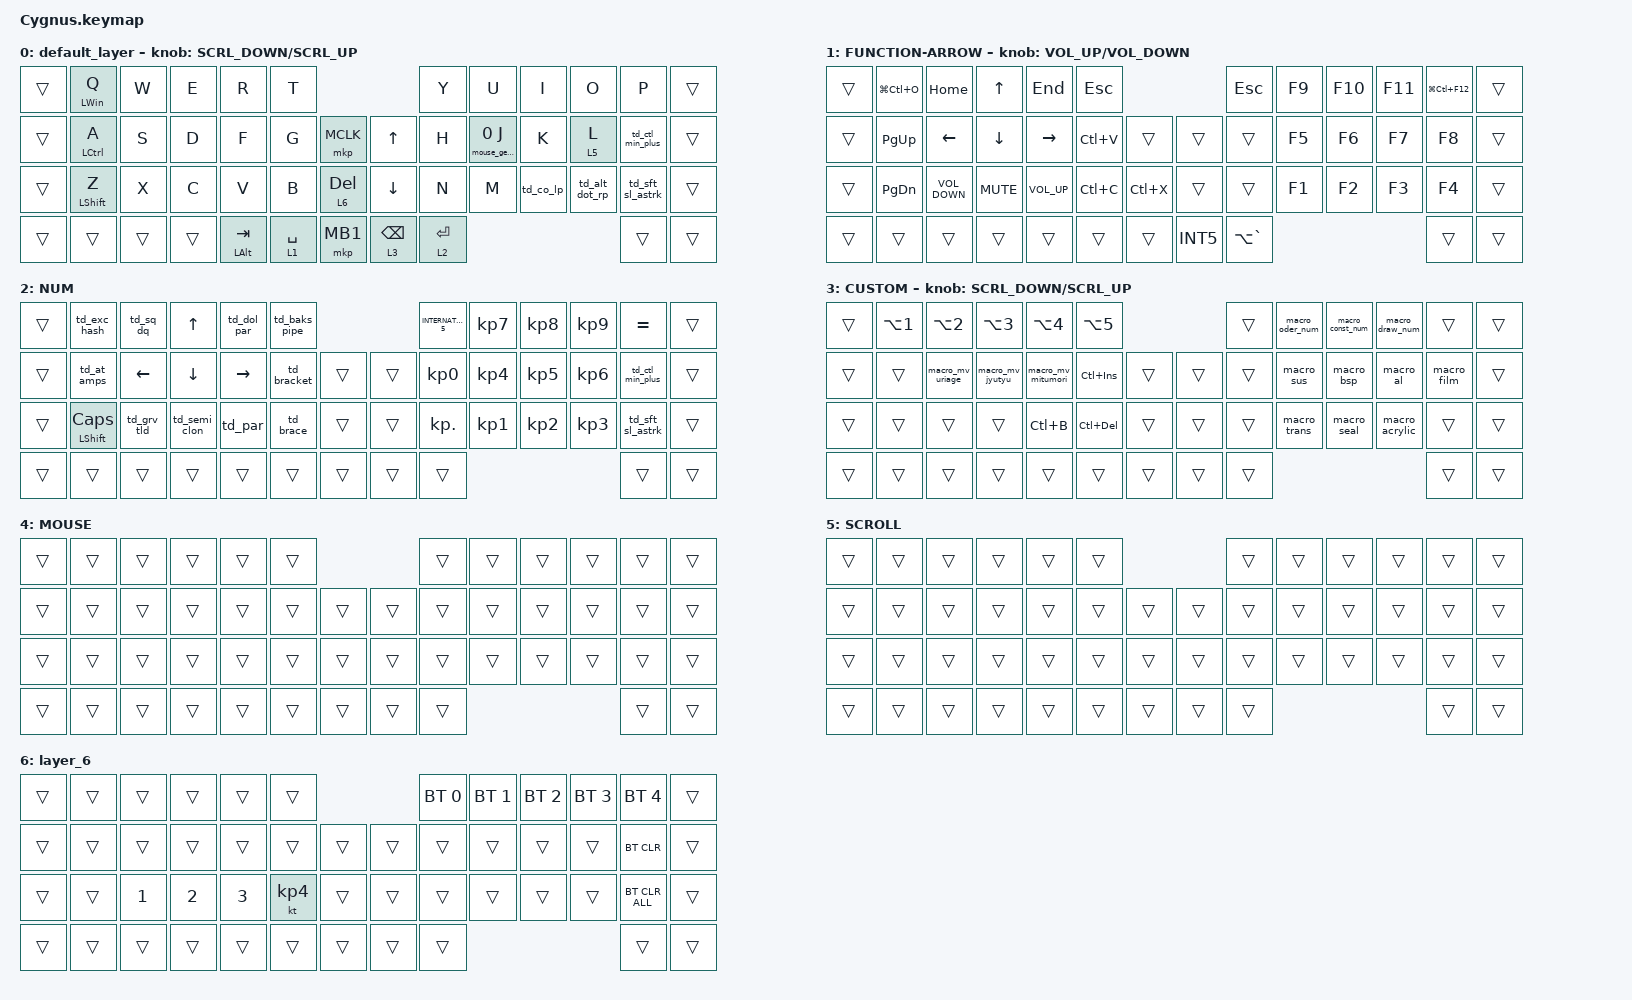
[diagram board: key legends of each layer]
#define ZMK_POINTING_DEFAULT_SCRL_VAL 120    // default: 10

#include <mouse-gesture.dtsi>
#include <behaviors.dtsi>
#include <dt-bindings/zmk/bt.h>
#include <dt-bindings/zmk/keys.h>
#include <dt-bindings/zmk/pointing.h>

#define MOUSE 4
#define SCROLL 5

&mouse_gesture_kp {
    tapping-term-ms = <300>;
    quick-tap-ms = <175>;
    flavor = "tap-preferred";
};

&mt {
    flavor = "balanced";
    quick-tap-ms = <0>;
};

/ {
    combos {
        compatible = "zmk,combos";

        combo_mb1 {
            bindings = <&mkp MB1>;
            key-positions = <21 22>;
        };

        combo_mb2 {
            bindings = <&mkp MB2>;
            key-positions = <22 23>;
        };

        combo_tab {
            bindings = <&kp TAB>;
            key-positions = <16 15>;
        };
    };

    macros {
        to_layer_0: to_layer_0 {
            compatible = "zmk,behavior-macro-one-param";
            #binding-cells = <1>;
            bindings = <&to 0 &macro_param_1to1 &kp MACRO_PLACEHOLDER>;
            label = "TO_LAYER_0";
        };

        shift_click: shift_click {
            compatible = "zmk,behavior-macro";
            #binding-cells = <0>;
            tap-ms = <10>;
            wait-ms = <10>;
            bindings =
                <&macro_press>,
                <&kp LSHFT>,
                <&macro_tap>,
                <&mkp MB1>,
                <&macro_release>,
                <&kp LSHFT>;
        };

        macro_sus: macro_sus {
            compatible = "zmk,behavior-macro";
            #binding-cells = <0>;
            bindings = <&kp INT5 &kp N0 &kp N1 &kp F &kp U &kp N0 &kp N0 &kp N1>;
            label = "MACRO_SUS";
        };

        macro_bsp: macro_bsp {
            compatible = "zmk,behavior-macro";
            #binding-cells = <0>;
            bindings = <&kp INTERNATIONAL_5 &kp N0 &kp N1 &kp F &kp U &kp N0 &kp N0 &kp N2>;
            label = "MACRO_BSP";
        };

        macro_al: macro_al {
            compatible = "zmk,behavior-macro";
            #binding-cells = <0>;
            bindings = <&kp INTERNATIONAL_5 &kp N0 &kp N1 &kp F &kp U &kp N0 &kp N0 &kp N4>;
            label = "MACRO_AL";
        };

        macro_film: macroLfilm {
            compatible = "zmk,behavior-macro";
            #binding-cells = <0>;
            bindings = <&kp INTERNATIONAL_5 &kp N0 &kp N1 &kp F &kp U &kp N0 &kp N0 &kp NUMBER_6>;
            label = "MACROLFILM";
        };

        macro_seal: macro_seal {
            compatible = "zmk,behavior-macro";
            #binding-cells = <0>;
            bindings = <&kp INTERNATIONAL_5 &kp N0 &kp N1 &kp S &kp E &kp N0 &kp N0 &kp N3>;
            label = "MACRO_SEAL";
        };

        macro_acrylic: macro_acrylic {
            compatible = "zmk,behavior-macro";
            #binding-cells = <0>;
            bindings = <&kp INTERNATIONAL_5 &kp N0 &kp N1 &kp A &kp K &kp N0 &kp N0 &kp N1>;
            label = "MACRO_ACRYLIC";
        };

        macro_trans: macro_trans {
            compatible = "zmk,behavior-macro";
            #binding-cells = <0>;
            bindings = <&kp INTERNATIONAL_5 &kp N0 &kp N1 &kp U &kp N &kp N0 &kp N0 &kp N1>;
            label = "MACRO_TRANS";
        };

        macro_mv_uriage: new_macro {
            compatible = "zmk,behavior-macro";
            #binding-cells = <0>;
            bindings = <&kp INTERNATIONAL_5 &kp LA(U) &kp C>;
            label = "NEW_MACRO";
        };

        macro_mv_jyutyu: macro_jyutyu {
            compatible = "zmk,behavior-macro";
            #binding-cells = <0>;
            bindings = <&kp INTERNATIONAL_5 &kp LA(U) &kp B>;
            label = "MACRO_JYUTYU";
        };

        macro_mv_mitumori: macro_mitumori {
            compatible = "zmk,behavior-macro";
            #binding-cells = <0>;
            bindings = <&kp INTERNATIONAL_5 &kp LA(U) &kp A>;
            label = "MACRO_MITUMORI";
        };

        macro_oder_num: macro_oder_num {
            compatible = "zmk,behavior-macro";
            #binding-cells = <0>;
            bindings = <&kp INTERNATIONAL_5 &kp N0 &kp N1 &kp N0 &kp N0 &kp N0 &kp N0 &kp N1>;
            label = "MACRO_ODER_NUM";
        };

        macro_const_num: macro_const_num {
            compatible = "zmk,behavior-macro";
            #binding-cells = <0>;
            bindings = <&kp INTERNATIONAL_5 &kp N0 &kp N1 &kp N0 &kp N0 &kp N0 &kp N0 &kp N2>;
            label = "MACRO_CONST_NUM";
        };

        macro_draw_num: macro_draw_num {
            compatible = "zmk,behavior-macro";
            #binding-cells = <0>;
            bindings = <&kp INTERNATIONAL_5 &kp N0 &kp N1 &kp N0 &kp N0 &kp N0 &kp N0 &kp N7>;
            label = "MACRO_DRAW_NUM";
        };
    };

    behaviors {
        lt_to_layer_0: lt_to_layer_0 {
            compatible = "zmk,behavior-hold-tap";
            label = "LAYER_TAP_TO_0";
            bindings = <&mo>, <&to_layer_0>;

            #binding-cells = <2>;
            tapping-term-ms = <200>;
        };

        ROTATE: ROTATE {
            compatible = "zmk,behavior-sensor-rotate-var";
            label = "ROTATE";
            #sensor-binding-cells = <2>;
            bindings = <&msc>, <&msc>;

            tap-ms = <20>;
        };

        dot_arrow: dot_arrow {
            compatible = "zmk,behavior-hold-tap";
            #binding-cells = <2>;
            flavor = "hold-preferred";
            tapping-term-ms = <200>;
            bindings = <&mo>, <&kp>;
        };

        // シングルタップと長押しを設定

        hold_stap: hold_single_tap {
            compatible = "zmk,behavior-hold-tap";
            label = "HOLD_SINGLE_TAP";
            #binding-cells = <2>;
            flavor = "tap-preferred";
            tapping-term-ms = <150>;
            bindings = <&kp>, <&kp>;
        };

        // シングルタップでint5、ダブルタップでint4、長押しで左alt

        td_alt_int5_4: tap_dance_alt_int5_int4 {
            compatible = "zmk,behavior-tap-dance";
            label = "TD_ALT_INT5_INT4";
            #binding-cells = <0>;
            tapping-term-ms = <200>;
            bindings = <&hold_stap LALT INT5>, <&kp INT4>;
        };

        // シングルタップでマイナス、ダブルタップでプラス、長押しで右ctrl

        td_ctl_min_plus: tap_dance_ctrl_minus_plus {
            compatible = "zmk,behavior-tap-dance";
            label = "TD_CTL_MINUS_PLUS";
            #binding-cells = <0>;
            tapping-term-ms = <150>;
            bindings = <&hold_stap RCTRL MINUS>, <&kp PLUS>;
        };

        // シングルタップでスラッシュ、ダブルタップでアスタリスク、長押しで右shift

        td_sft_sl_astrk: tap_dance_shift_slash_asterisk {
            compatible = "zmk,behavior-tap-dance";
            label = "TD_SHT_SL_ASTRK";
            #binding-cells = <0>;
            tapping-term-ms = <150>;
            bindings = <&hold_stap RSHIFT SLASH>, <&kp ASTRK>;
        };

        // シングルタップでドット、ダブルタップで括弧閉じ、長押しで右alt

        td_alt_dot_rp: tap_dance_alt_dot_rightpar {
            compatible = "zmk,behavior-tap-dance";
            label = "TD_ALT_DOT_RPAR";
            #binding-cells = <0>;
            tapping-term-ms = <150>;
            bindings = <&hold_stap RALT DOT>, <&kp RPAR>;
        };

        td_co_lp: tap_dance_comma_leftpar {
            compatible = "zmk,behavior-tap-dance";
            label = "TD_COMMA_LPAR";
            #binding-cells = <0>;
            tapping-term-ms = <200>;
            bindings = <&kp COMMA>, <&kp LPAR>;
        };

        td_sq_dq: tap_dance_singlequote_doublequote {
            compatible = "zmk,behavior-tap-dance";
            label = "TD_SQ_DQ";
            #binding-cells = <0>;
            tapping-term-ms = <200>;
            bindings = <&kp SINGLE_QUOTE>, <&kp DOUBLE_QUOTES>;
        };

        td_bracket: tap_dance_bracket {
            compatible = "zmk,behavior-tap-dance";
            label = "TD_BRACKET";
            #binding-cells = <0>;
            tapping-term-ms = <200>;
            bindings = <&kp LEFT_BRACKET>, <&kp RIGHT_BRACKET>;
        };

        td_par: tap_dance_par {
            compatible = "zmk,behavior-tap-dance";
            label = "TD_PAR";
            #binding-cells = <0>;
            tapping-term-ms = <200>;
            bindings = <&kp LPAR>, <&kp RPAR>;
        };

        td_brace: tap_dance_brace {
            compatible = "zmk,behavior-tap-dance";
            label = "TD_BRACE";
            #binding-cells = <0>;
            tapping-term-ms = <200>;
            bindings = <&kp LEFT_BRACE>, <&kp RIGHT_BRACE>;
        };

        td_exc_hash: tap_exclametion_hash {
            compatible = "zmk,behavior-tap-dance";
            label = "TD_EXC_HASHE";
            #binding-cells = <0>;
            tapping-term-ms = <200>;
            bindings = <&kp EXCLAMATION>, <&kp HASH>;
        };

        td_at_amps: tap_at_mps {
            compatible = "zmk,behavior-tap-dance";
            label = "TD_AT_AMPS";
            #binding-cells = <0>;
            tapping-term-ms = <200>;
            bindings = <&kp AT>, <&kp AMPS>;
        };

        td_dol_par: tap_dollar_parcent {
            compatible = "zmk,behavior-tap-dance";
            label = "TD_DOL_PAR";
            #binding-cells = <0>;
            tapping-term-ms = <200>;
            bindings = <&kp DOLLAR>, <&kp PERCENT>;
        };

        td_semi_clon: tap_semicolon_colon {
            compatible = "zmk,behavior-tap-dance";
            label = "TD_SEMI_CLON";
            #binding-cells = <0>;
            tapping-term-ms = <200>;
            bindings = <&kp SEMICOLON>, <&kp COLON>;
        };

        td_grv_tld: tap_grave_tilde {
            compatible = "zmk,behavior-tap-dance";
            label = "TD_GRV_TLD";
            #binding-cells = <0>;
            tapping-term-ms = <200>;
            bindings = <&kp GRAVE>, <&kp TILDE>;
        };

        td_baks_pipe: tap_backslash_pipe {
            compatible = "zmk,behavior-tap-dance";
            label = "TD_BAKS_PIPE";
            #binding-cells = <0>;
            tapping-term-ms = <200>;
            bindings = <&kp BACKSLASH>, <&kp PIPE>;
        };

        hm: homerow_mods {
            compatible = "zmk,behavior-hold-tap";
            #binding-cells = <2>;
            tapping-term-ms = <150>;    // 500msから200ms程度に下げると快適です
            quick-tap-ms = <150>;       // 素早い連打を「タップ」として固定
            flavor = "tap-preferred";   // 迷ったら「タップ」を優先する設定
            bindings = <&kp>, <&kp>;
        };
    };

    keymap {
        compatible = "zmk,keymap";

        default_layer {
            bindings = <
&trans  &mt LEFT_WIN Q  &kp W   &kp E   &kp R         &kp T                                         &kp Y        &kp U                  &kp I      &kp O           &kp P             &trans
&trans  &hm LCTRL A     &kp S   &kp D   &kp F         &kp G        &mkp MCLK       &kp UP_ARROW     &kp H        &mouse_gesture_kp 0 J  &kp K      &lt 5 L         &td_ctl_min_plus  &trans
&trans  &mt LSHFT Z     &kp X   &kp C   &kp V         &kp B        &lt 6 DELETE    &kp DOWN_ARROW   &kp N        &kp M                  &td_co_lp  &td_alt_dot_rp  &td_sft_sl_astrk  &trans
&trans  &trans          &trans  &trans  &mt LALT TAB  &lt 1 SPACE  &mkp MB1        &lt 3 BACKSPACE  &lt 2 ENTER                                                    &trans            &trans
            >;

            sensor-bindings = <&ROTATE SCRL_DOWN SCRL_UP>;
        };

        FUNCTION-ARROW {
            bindings = <
&trans  &kp LG(LC(O))  &kp HOME           &kp UP_ARROW    &kp END          &kp ESCAPE                         &kp ESCAPE     &kp F9  &kp F10  &kp F11  &kp LG(LC(F12))  &trans
&trans  &kp PAGE_UP    &kp LEFT_ARROW     &kp DOWN_ARROW  &kp RIGHT_ARROW  &kp LC(V)   &trans       &trans    &trans         &kp F5  &kp F6   &kp F7   &kp F8           &trans
&trans  &kp PAGE_DOWN  &kp C_VOLUME_DOWN  &kp C_MUTE      &kp C_VOLUME_UP  &kp LC(C)   &kp LC(X)    &trans    &trans         &kp F1  &kp F2   &kp F3   &kp F4           &trans
&trans  &trans         &trans             &trans          &trans           &trans      &trans       &kp INT5  &kp LA(GRAVE)                            &trans           &trans
            >;

            sensor-bindings = <&inc_dec_kp C_VOLUME_UP C_VOLUME_DOWN>;
        };

        NUM {
            bindings = <
&trans  &td_exc_hash    &td_sq_dq       &kp UP_ARROW    &td_dol_par      &td_baks_pipe                    &kp INTERNATIONAL_5  &kp KP_N7  &kp KP_N8  &kp KP_N9  &kp EQUAL         &trans
&trans  &td_at_amps     &kp LEFT_ARROW  &kp DOWN_ARROW  &kp RIGHT_ARROW  &td_bracket    &trans    &trans  &kp KP_N0            &kp KP_N4  &kp KP_N5  &kp KP_N6  &td_ctl_min_plus  &trans
&trans  &mt LSHFT CAPS  &td_grv_tld     &td_semi_clon   &td_par          &td_brace      &trans    &trans  &kp KP_DOT           &kp KP_N1  &kp KP_N2  &kp KP_N3  &td_sft_sl_astrk  &trans
&trans  &trans          &trans          &trans          &trans           &trans         &trans    &trans  &trans                                                &trans            &trans
            >;
        };

        CUSTOM {
            bindings = <
&trans  &kp LA(NUMBER_1)  &kp LA(NUMBER_2)  &kp LA(NUMBER_3)  &kp LA(NUMBER_4)    &kp LA(N5)                     &trans  &macro_oder_num  &macro_const_num  &macro_draw_num  &trans       &trans
&trans  &trans            &macro_mv_uriage  &macro_mv_jyutyu  &macro_mv_mitumori  &kp LC(INS)  &trans    &trans  &trans  &macro_sus       &macro_bsp        &macro_al        &macro_film  &trans
&trans  &trans            &trans            &trans            &kp LC(B)           &kp LC(DEL)  &trans    &trans  &trans  &macro_trans     &macro_seal       &macro_acrylic   &trans       &trans
&trans  &trans            &trans            &trans            &trans              &trans       &trans    &trans  &trans                                                      &trans       &trans
            >;

            sensor-bindings = <&ROTATE SCRL_DOWN SCRL_UP>;
        };

        MOUSE {
            bindings = <
&trans  &trans  &trans  &trans  &trans  &trans                    &trans  &trans  &trans  &trans  &trans  &trans
&trans  &trans  &trans  &trans  &trans  &trans  &trans    &trans  &trans  &trans  &trans  &trans  &trans  &trans
&trans  &trans  &trans  &trans  &trans  &trans  &trans    &trans  &trans  &trans  &trans  &trans  &trans  &trans
&trans  &trans  &trans  &trans  &trans  &trans  &trans    &trans  &trans                          &trans  &trans
            >;
        };

        SCROLL {
            bindings = <
&trans  &trans  &trans  &trans  &trans  &trans                    &trans  &trans  &trans  &trans  &trans  &trans
&trans  &trans  &trans  &trans  &trans  &trans  &trans    &trans  &trans  &trans  &trans  &trans  &trans  &trans
&trans  &trans  &trans  &trans  &trans  &trans  &trans    &trans  &trans  &trans  &trans  &trans  &trans  &trans
&trans  &trans  &trans  &trans  &trans  &trans  &trans    &trans  &trans                          &trans  &trans
            >;
        };

        layer_6 {
            bindings = <
&trans  &trans  &trans        &trans        &trans        &trans                       &bt BT_SEL 0  &bt BT_SEL 1  &bt BT_SEL 2  &bt BT_SEL 3  &bt BT_SEL 4    &trans
&trans  &trans  &trans        &trans        &trans        &trans     &trans    &trans  &trans        &trans        &trans        &trans        &bt BT_CLR      &trans
&trans  &trans  &kp NUMBER_1  &kp NUMBER_2  &kp NUMBER_3  &kt KP_N4  &trans    &trans  &trans        &trans        &trans        &trans        &bt BT_CLR_ALL  &trans
&trans  &trans  &trans        &trans        &trans        &trans     &trans    &trans  &trans                                                  &trans          &trans
            >;
        };
    };
};
